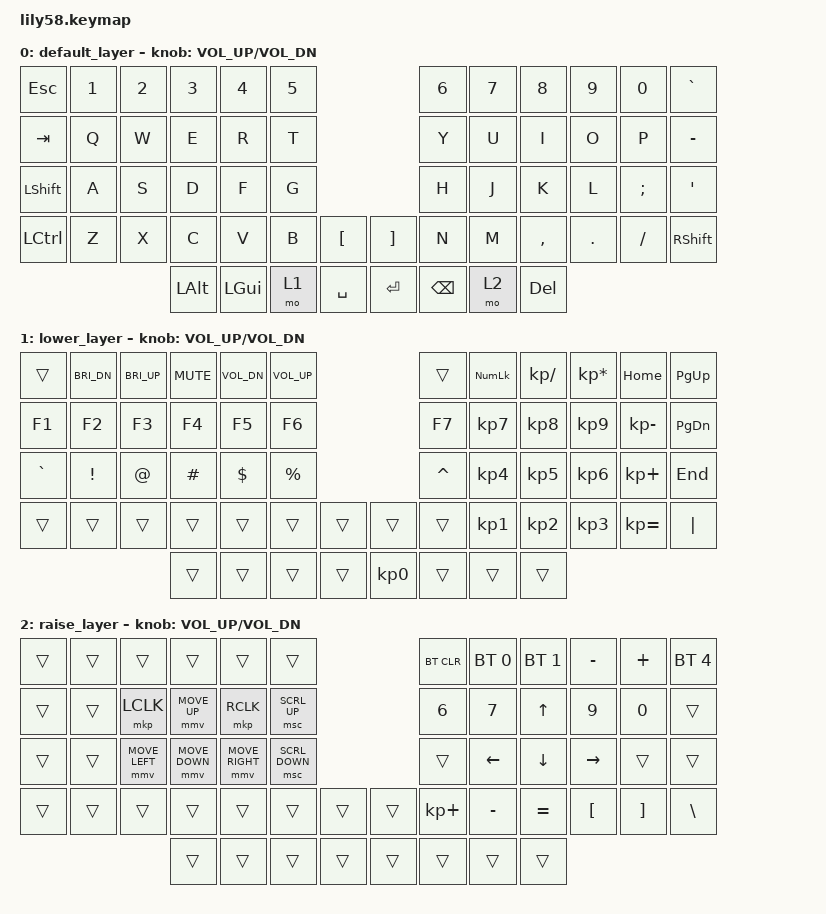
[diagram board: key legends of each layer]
/*
 * Copyright (c) 2020 The ZMK Contributors
 *
 * SPDX-License-Identifier: MIT
 */

#include <behaviors.dtsi>
#include <dt-bindings/zmk/bt.h>
#include <dt-bindings/zmk/keys.h>
#include <dt-bindings/zmk/pointing.h>
#include <dt-bindings/zmk/pointing.h>
#include <dt-bindings/zmk/pointing.h>

/ {
    keymap {
        compatible = "zmk,keymap";

        default_layer {
            // ------------------------------------------------------------------------------------------------------------
            // |  ESC  |  1  |  2  |  3   |  4   |  5   |                   |  6   |  7    |  8    |  9   |   0   |   `   |
            // |  TAB  |  Q  |  W  |  E   |  R   |  T   |                   |  Y   |  U    |  I    |  O   |   P   |   -   |
            // |  CTRL |  A  |  S  |  D   |  F   |  G   |                   |  H   |  J    |  K    |  L   |   ;   |   '   |
            // | SHIFT |  Z  |  X  |  C   |  V   |  B   |   "["  |  |  "]"  |  N   |  M    |  ,    |  .   |   /   | SHIFT |
            //                     | ALT  | GUI  | LOWER|  SPACE |  | ENTER | RAISE| BSPC  | GUI   |

            bindings = <
&kp ESC         &kp N1  &kp N2  &kp N3    &kp N4    &kp N5                          &kp N6         &kp N7  &kp N8     &kp N9   &kp N0    &kp GRAVE
&kp TAB         &kp Q   &kp W   &kp E     &kp R     &kp T                           &kp Y          &kp U   &kp I      &kp O    &kp P     &kp MINUS
&kp LEFT_SHIFT  &kp A   &kp S   &kp D     &kp F     &kp G                           &kp H          &kp J   &kp K      &kp L    &kp SEMI  &kp SQT
&kp LCTRL       &kp Z   &kp X   &kp C     &kp V     &kp B   &kp LBKT     &kp RBKT   &kp N          &kp M   &kp COMMA  &kp DOT  &kp FSLH  &kp RSHFT
                                &kp LALT  &kp LGUI  &mo 1   &kp SPACE    &kp ENTER  &kp BACKSPACE  &mo 2   &kp DEL
            >;

            sensor-bindings = <&inc_dec_kp C_VOL_UP C_VOL_DN>;
        };

        lower_layer {
            // --------------------------------------------------------------------------------------------------------------
            // | LPAD  | BRDn | BRUp |  MUT |  Vo- |  Vo+ |                   |      |       |       |      |       |       |
            // |  F1   |  F2  |  F3  |  F4  |  F5  |  F6  |                   |  F7  |  F8   |  F9   |  F10 |  F11  |  F12  |
            // |   `   |  !   |  @   |  #   |  $   |  %   |                   |  ^   |  &    |  *    |  (   |   )   |   ~   |
            // |       |      |      |      |      |      |        |  |       |      |  _    |  +    |  {   |   }   |  "|"  |
            //                       |      |      |      |        |  |       |      |       |       |

            bindings = <
&trans     &kp C_BRI_DN  &kp C_BRI_UP  &kp C_MUTE  &kp C_VOL_DN  &kp C_VOL_UP                             &trans     &kp KP_NUMLOCK   &kp KP_DIVIDE    &kp KP_MULTIPLY  &kp HOME      &kp PAGE_UP
&kp F1     &kp F2        &kp F3        &kp F4      &kp F5        &kp F6                                   &kp F7     &kp KP_NUMBER_7  &kp KP_NUMBER_8  &kp KP_NUMBER_9  &kp KP_MINUS  &kp PAGE_DOWN
&kp GRAVE  &kp EXCL      &kp AT        &kp HASH    &kp DOLLAR    &kp PRCNT                                &kp CARET  &kp KP_NUMBER_4  &kp KP_NUMBER_5  &kp KP_NUMBER_6  &kp KP_PLUS   &kp END
&trans     &trans        &trans        &trans      &trans        &trans        &trans    &trans           &trans     &kp KP_NUMBER_1  &kp KP_NUMBER_2  &kp KP_NUMBER_3  &kp KP_EQUAL  &kp PIPE
                                       &trans      &trans        &trans        &trans    &kp KP_NUMBER_0  &trans     &trans           &trans
            >;

            sensor-bindings = <&inc_dec_kp C_VOL_UP C_VOL_DN>;
        };

        raise_layer {
            // ------------------------------------------------------------------------------------------------------------
            // |       |     |     |      |      |      |                   |      |       |       |      |       |       |
            // |   `   |  1  |  2  |  3   |  4   |  5   |                   |  6   |   7   |   8   |  9   |   0   |       |
            // |   F1  |  F2 |  F3 |  F4  |  F5  |  F6  |                   |      |   <-  |   v   |  ^   |  ->   |       |
            // |   F7  |  F8 |  F9 |  F10 |  F11 |  F12 |        |  |       |  +   |   -   |   =   |  [   |   ]   |   \   |
            //                     |      |      |      |        |  |       |      |       |       |

            bindings = <
&trans  &trans  &trans          &trans          &trans           &trans                            &bt BT_CLR   &bt BT_SEL 0  &bt BT_SEL 1  &kp MINUS  &kp PLUS  &bt BT_SEL 4
&trans  &trans  &mkp LCLK       &mmv MOVE_UP    &mkp RCLK        &msc SCRL_UP                      &kp N6       &kp N7        &kp UP_ARROW  &kp N9     &kp N0    &trans
&trans  &trans  &mmv MOVE_LEFT  &mmv MOVE_DOWN  &mmv MOVE_RIGHT  &msc SCRL_DOWN                    &trans       &kp LEFT      &kp DOWN      &kp RIGHT  &trans    &trans
&trans  &trans  &trans          &trans          &trans           &trans          &trans    &trans  &kp KP_PLUS  &kp MINUS     &kp EQUAL     &kp LBKT   &kp RBKT  &kp BSLH
                                &trans          &trans           &trans          &trans    &trans  &trans       &trans        &trans
            >;

            sensor-bindings = <&inc_dec_kp C_VOL_UP C_VOL_DN>;
        };
    };
};
